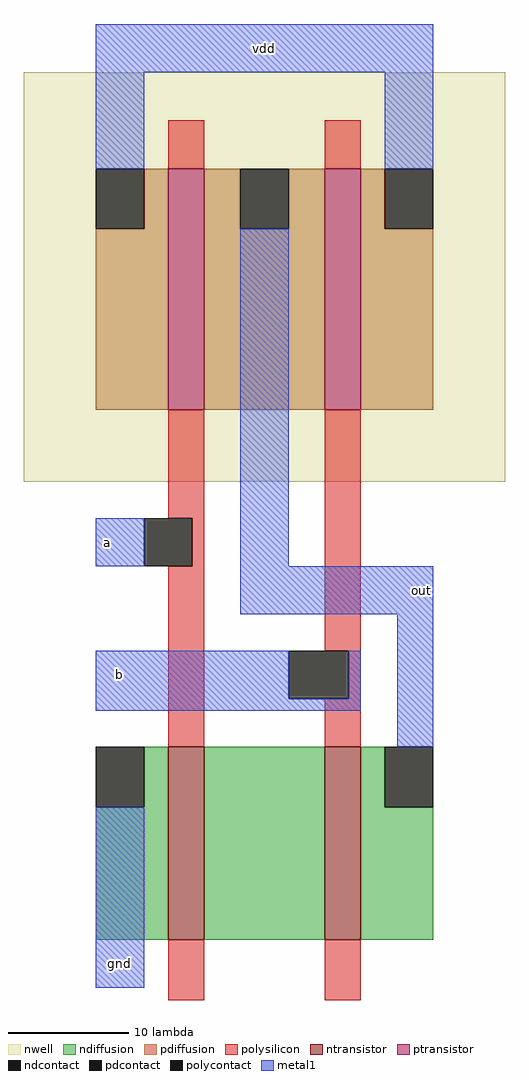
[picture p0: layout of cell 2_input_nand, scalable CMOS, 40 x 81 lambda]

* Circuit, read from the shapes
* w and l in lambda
.subckt 2_input_nand a b gnd out vdd
M1 n1 a gnd VSUBS nfet w=16 l=3
M2 out b n1 VSUBS nfet w=16 l=3
M3 out a vdd n2 pfet w=20 l=3
M4 vdd b out n2 pfet w=20 l=3
.ends

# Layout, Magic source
magic
tech scmos
<< nwell >>
rect 0 0 40 34
<< ntransistor >>
rect 12 -38 15 -22
rect 25 -38 28 -22
<< ptransistor >>
rect 12 6 15 26
rect 25 6 28 26
<< ndiffusion >>
rect 10 -27 12 -22
rect 6 -38 12 -27
rect 15 -38 25 -22
rect 28 -27 30 -22
rect 28 -38 34 -27
<< pdiffusion >>
rect 10 21 12 26
rect 6 6 12 21
rect 15 21 18 26
rect 22 21 25 26
rect 15 6 25 21
rect 28 21 30 26
rect 28 6 34 21
<< ndcontact >>
rect 6 -27 10 -22
rect 30 -27 34 -22
<< pdcontact >>
rect 6 21 10 26
rect 18 21 22 26
rect 30 21 34 26
<< polysilicon >>
rect 12 26 15 30
rect 25 26 28 30
rect 12 -3 15 6
rect 14 -7 15 -3
rect 12 -22 15 -7
rect 25 -14 28 6
rect 27 -18 28 -14
rect 25 -22 28 -18
rect 12 -43 15 -38
rect 25 -43 28 -38
<< polycontact >>
rect 10 -7 14 -3
rect 22 -18 27 -14
<< metal1 >>
rect 6 34 34 38
rect 6 26 10 34
rect 30 26 34 34
rect 6 -7 10 -3
rect 18 -7 22 21
rect 18 -11 34 -7
rect 6 -18 22 -14
rect 27 -18 28 -14
rect 6 -19 28 -18
rect 31 -22 34 -11
rect 6 -42 10 -27
<< labels >>
rlabel metal1 7 -5 7 -5 1 a
rlabel metal1 8 -16 8 -16 1 b
rlabel metal1 33 -9 33 -9 1 out
rlabel metal1 8 -40 8 -40 1 gnd
rlabel metal1 20 36 20 36 5 vdd
<< end >>
